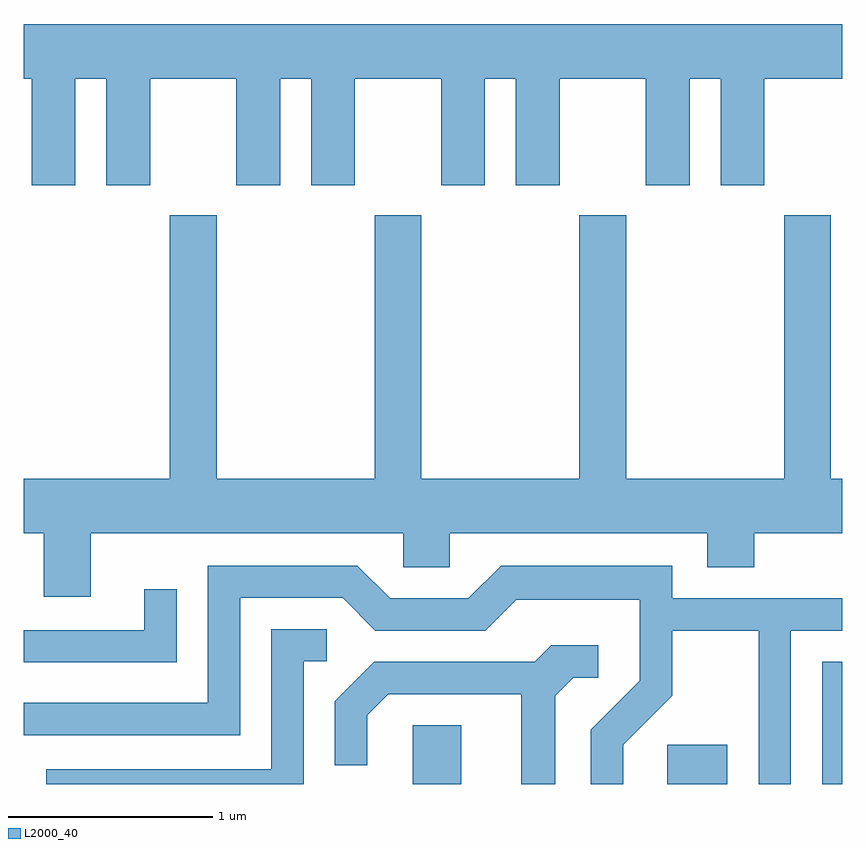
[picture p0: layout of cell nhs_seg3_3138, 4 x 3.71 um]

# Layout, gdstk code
import gdstk
lib = gdstk.Library(unit=1e-6, precision=1e-09)
def R(c, l, rs):  # rectangles x0, y0, x1, y1
    for r in rs: c.add(gdstk.rectangle(r[:2], r[2:], *l))
def P(c, l, *ps):  # polygons
    for p in ps: c.add(gdstk.Polygon(p, *l))
L2000_40 = (2000, 40)

nhs_seg3_3138 = lib.new_cell('nhs_seg3_3138')
R(nhs_seg3_3138, L2000_40, [(279.511,1135.892,279.749,1136.179), (280.756,1135.892,281.049,1136.084), (281.511,1135.892,281.611,1136.489)])
P(nhs_seg3_3138, L2000_40, [(277.864,1139.336),(278.016,1139.336),(278.016,1138.816),(278.229,1138.816),(278.229,1139.336),(278.651,1139.336),(278.651,1138.816),(278.864,1138.816),(278.864,1139.336),(279.016,1139.336),(279.016,1138.816),(279.229,1138.816),(279.229,1139.336),(279.651,1139.336),(279.651,1138.816),(279.864,1138.816),(279.864,1139.336),(280.016,1139.336),(280.016,1138.816),(280.229,1138.816),(280.229,1139.336),(280.651,1139.336),(280.651,1138.816),(280.864,1138.816),(280.864,1139.336),(281.016,1139.336),(281.016,1138.816),(281.229,1138.816),(281.229,1139.336),(281.611,1139.336),(281.611,1139.604),(277.611,1139.604),(277.611,1139.336),(277.651,1139.336),(277.651,1138.816),(277.864,1138.816)],
  [(277.939,1137.116),(279.466,1137.116),(279.466,1136.951),(279.694,1136.951),(279.694,1137.116),(280.951,1137.116),(280.951,1136.951),(281.179,1136.951),(281.179,1137.116),(281.611,1137.116),(281.611,1137.384),(281.554,1137.384),(281.554,1138.669),(281.326,1138.669),(281.326,1137.384),(280.554,1137.384),(280.554,1138.669),(280.326,1138.669),(280.326,1137.384),(279.554,1137.384),(279.554,1138.669),(279.326,1138.669),(279.326,1137.384),(278.554,1137.384),(278.554,1138.669),(278.326,1138.669),(278.326,1137.384),(277.611,1137.384),(277.611,1137.116),(277.711,1137.116),(277.711,1136.806),(277.939,1136.806)],
  [(280.539,1136.084),(280.779,1136.324),(280.779,1136.641),(281.201,1136.641),(281.201,1135.892),(281.359,1135.892),(281.359,1136.641),(281.611,1136.641),(281.611,1136.799),(280.779,1136.799),(280.779,1136.959),(279.944,1136.959),(279.784,1136.799),(279.402,1136.799),(279.242,1136.959),(278.511,1136.959),(278.511,1136.289),(277.611,1136.289),(277.611,1136.131),(278.669,1136.131),(278.669,1136.801),(279.169,1136.801),(279.329,1136.641),(279.867,1136.641),(280.017,1136.791),(280.621,1136.791),(280.621,1136.397),(280.381,1136.157),(280.381,1135.892),(280.539,1135.892)],
  [(278.359,1136.843),(278.201,1136.843),(278.201,1136.644),(277.611,1136.644),(277.611,1136.486),(278.359,1136.486)],
  [(278.979,1136.491),(279.093,1136.491),(279.093,1136.649),(278.821,1136.649),(278.821,1135.964),(277.723,1135.964),(277.723,1135.892),(278.979,1135.892)],
  [(280.209,1136.324),(280.297,1136.411),(280.418,1136.411),(280.418,1136.569),(280.189,1136.569),(280.109,1136.489),(279.324,1136.489),(279.131,1136.297),(279.131,1135.983),(279.289,1135.983),(279.289,1136.229),(279.392,1136.331),(280.041,1136.331),(280.041,1135.892),(280.209,1135.892)])

lib.write_gds('nhs_seg3_3138.gds')
